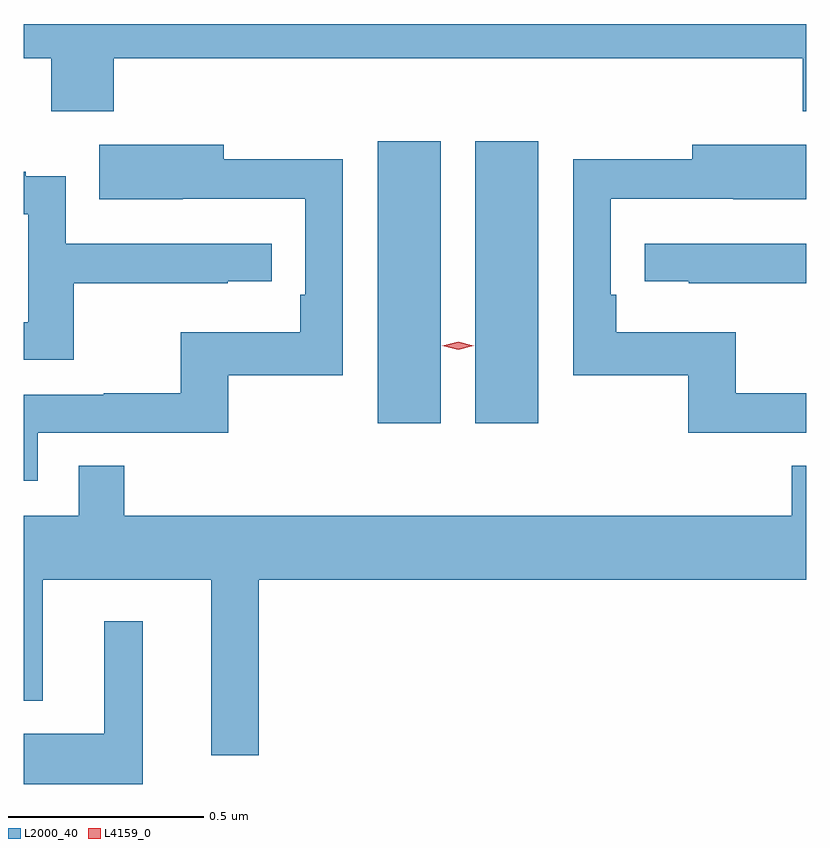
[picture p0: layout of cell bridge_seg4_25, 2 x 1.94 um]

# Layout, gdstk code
import gdstk
lib = gdstk.Library(unit=1e-6, precision=1e-09)
def R(c, l, rs):  # rectangles x0, y0, x1, y1
    for r in rs: c.add(gdstk.rectangle(r[:2], r[2:], *l))
def P(c, l, *ps):  # polygons
    for p in ps: c.add(gdstk.Polygon(p, *l))
L2000_40 = (2000, 40)
L4159_0 = (4159, 0)

bridge_seg4_25 = lib.new_cell('bridge_seg4_25')
R(bridge_seg4_25, L2000_40, [(941.663,751.932,941.824,752.653), (941.912,751.932,942.073,752.653)])
P(bridge_seg4_25, L2000_40, [(940.988,752.864),(942.749,752.864),(942.749,752.729),(942.758,752.729),(942.758,752.952),(940.758,752.952),(940.758,752.864),(940.828,752.864),(940.828,752.729),(940.988,752.729)],
  [(940.794,751.908),(941.281,751.908),(941.281,752.055),(941.574,752.055),(941.574,752.606),(941.269,752.606),(941.269,752.644),(940.951,752.644),(940.951,752.504),(941.165,752.504),(941.165,752.505),(941.478,752.505),(941.478,752.26),(941.465,752.26),(941.465,752.164),(941.16,752.164),(941.16,752.009),(940.963,752.009),(940.963,752.004),(940.758,752.004),(940.758,751.785),(940.794,751.785)],
  [(942.758,752.009),(942.577,752.009),(942.577,752.164),(942.272,752.164),(942.272,752.26),(942.258,752.26),(942.258,752.505),(942.571,752.505),(942.571,752.504),(942.758,752.504),(942.758,752.644),(942.467,752.644),(942.467,752.606),(942.162,752.606),(942.162,752.055),(942.456,752.055),(942.456,751.908),(942.758,751.908)],
  [(940.886,752.29),(941.279,752.29),(941.279,752.295),(941.392,752.295),(941.392,752.391),(940.866,752.391),(940.866,752.563),(940.763,752.563),(940.763,752.575),(940.758,752.575),(940.758,752.466),(940.77,752.466),(940.77,752.19),(940.758,752.19),(940.758,752.094),(940.886,752.094)],
  [(942.758,752.391),(942.345,752.391),(942.345,752.295),(942.457,752.295),(942.457,752.29),(942.758,752.29)],
  [(941.359,751.532),(942.758,751.532),(942.758,751.823),(942.721,751.823),(942.721,751.696),(941.015,751.696),(941.015,751.823),(940.899,751.823),(940.899,751.696),(940.758,751.696),(940.758,751.223),(940.807,751.223),(940.807,751.532),(941.237,751.532),(941.237,751.083),(941.359,751.083)],
  [(941.062,751.426),(940.964,751.426),(940.964,751.138),(940.758,751.138),(940.758,751.01),(941.062,751.01)])
P(bridge_seg4_25, L4159_0, [(941.868,752.12),(941.828,752.13),(941.828,752.13),(941.828,752.13),(941.868,752.14),(941.908,752.13),(941.908,752.13),(941.908,752.13)])

lib.write_gds('bridge_seg4_25.gds')
